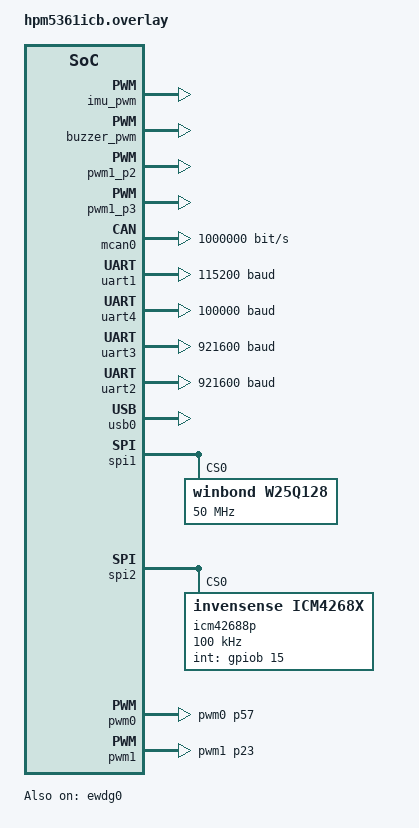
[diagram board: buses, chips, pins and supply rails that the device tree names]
#include <dt-bindings/gpio/gpio.h>
#include <dt-bindings/clock/hpm5361-clocks.h>
#include "dt-bindings/pinctrl/hpmicro-pinctrl-common.h"
#include <zephyr/dt-bindings/pwm/pwm.h>

/ {
    aliases {
        user-can1   = &mcan0;
        inter-can   = &mcan0;      /* 上下板通信总线（总线所有者组件用） */
        remote-uart = &uart4;
        hipnuc-uart = &uart3;
        imu-spi     = &icm42688p;
        imu-pwm     = &imu_pwm;
        buzzer-pwm  = &buzzer_pwm;
        flash-spi   = &w25q128;
        pc-usb      = &qingyuusb_usb0;
    };

    chosen {
        zephyr,console = &uart2;
        zephyr,watchdog = &ewdg0;
    };

    pwm {
        compatible = "pwm-leds";

        imu_pwm: imu_pwm {
            pwms = <&pwm0 7 PWM_USEC(1000) PWM_POLARITY_NORMAL>;
            label = "ICM42688P Heater";
            status = "okay";
        };

        buzzer_pwm: buzzer_pwm {
            pwms = <&pwm0 5 PWM_USEC(1000) PWM_POLARITY_NORMAL>;
            label = "Buzzer";
            status = "okay";
        };

        pwm1_p2: pwm1_p2 {
            pwms = <&pwm1 2 PWM_USEC(1000) PWM_POLARITY_NORMAL>;
            label = "PWM1 CH2";
            status = "okay";
        };

        pwm1_p3: pwm1_p3 {
            pwms = <&pwm1 3 PWM_USEC(1000) PWM_POLARITY_NORMAL>;
            label = "PWM1 CH3";
            status = "okay";
        };
    };
};

&hdma {
    status = "okay";
};

&gpioa {
    pinctrl-0 = <&pinmux_gpioa>;
    pinctrl-names = "default";
    status = "okay";
};

&gpiob {
    pinctrl-0 = <&pinmux_gpiob_spi>;
    pinctrl-names = "default";
    status = "okay";
};

&gpioy {
    pinctrl-0 = <&pinmux_gpioy>;
    pinctrl-names = "default";
    status = "okay";
};

&mcan0 {
    pinctrl-0 = <&pinmux_mcan0_txrx>;
    pinctrl-names = "default";
    /* 位时序要精确：CAN 时钟必须能被 1Mbps 整除。
     * 原来 PLL1_CLK0(792MHz)/5 = 158.4MHz，SDK 只能取 158 tq 近似
     *   → prescaler=1, tq=158, seg1=119, seg2=39 → 实际 1.0025 Mbps（+0.25%）
     * 改成 OSC24M/1 = 24MHz：
     *   → prescaler=1, tq=24, seg1=18, seg2=6 → 精确 1.000 Mbps，采样点 75% */
    // clk-source = <CLK_SRC_OSC24M>;
    // clk-divider = <1>;
    bitrate = <1000000>;
    status = "okay";
};

&uart1 {
    /* HiPNUC IMU：PY06/PY07，115200 8N1 */
    current-speed = <115200>;
    pinctrl-0 = <&pinmux_uart1>;
    pinctrl-names = "default";
    dmas = <&hdma 6 0x16>, <&hdma 7 0x17>;
    dma-names = "rx", "tx";
    status = "okay";
};

&uart4 {
    current-speed = <100000>;
    pinctrl-0 = <&pinmux_uart4_rx>;
    pinctrl-names = "default";
    uart-idle-gptmr-reg = <0xF000C000>;
    uart-idle-gptmr-clock-name = <CLOCK_GPTMR3>;
    dmas = <&hdma 2 0x1C>, <&hdma 3 0x1D>;
    dma-names = "rx", "tx";
    status = "okay";
};

&uart3 {
    current-speed = <921600>;
    pinctrl-0 = <&pinmux_uart3>;
    pinctrl-names = "default";
    dmas = <&hdma 4 0x1A>, <&hdma 5 0x1B>;
    dma-names = "rx", "tx";
    status = "okay";
};

/* ---- UART2（console，板载 "UART2"/H4 连接器）--------------------------
 * 连接器侧：H4.1 = +5V，H4.2 = GND（TVS 到 GND，F11/F12 串在数据线上）
 *           H4.3 = 板侧 RXD，H4.4 = 板侧 TXD
 * MCU 侧 ：PB09 = UART2_RXD，PB08 = UART2_TXD（IOC ALT2）
 *
 * HPM53xx 的 SoC dtsi 里没有 uart2 节点，按 uart0/1/3/4 的写法补一个：
 *   reg 0xF0048000（HPM_UART2_BASE），IRQ 15 = UART2（IRQn_UART2）
 * 时钟用 24M OSC：115200/921600 都能整除，且不依赖 PLL1 的状态。
 */
&{/soc} {
    ewdg0: watchdog@f00b0000 {
        compatible = "hpmicro,hpm-ewdg";
        reg = <0xf00b0000 0x4000>;
        interrupts = <32 1>;
        interrupt-parent = <&plic>;
        clk-name = <CLOCK_WATCHDOG0>;
        status = "okay";
    };

    uart2: serial@f0048000 {
        compatible = "hpmicro,hpm-uart";
        reg = <0xf0048000 0x1000>;
        interrupts = <15 1>, <5 1>;
        interrupt-names = "uart", "idletimer";
        clocks = <&clk CLOCK_UART2 CLK_SRC_PLL1_CLK0 6>;
        interrupt-parent = <&plic>;
        status = "disabled";
    };
};

&pinctrl {
    pinmux_uart2: pinmux_uart2 {
        group0 {
            pinmux = <HPMICRO_PINMUX(HPMICRO_PIN(HPMICRO_PORTB, 8), IOC_TYPE_IOC, 0, 2)>,
                     <HPMICRO_PINMUX(HPMICRO_PIN(HPMICRO_PORTB, 9), IOC_TYPE_IOC, 0, 2)>;
            input-enable;
        };
    };
};

&uart2 {
    /* console：921600 8N1，PB08 = UART2_TXD / PB09 = UART2_RXD */
    current-speed = <921600>;
    pinctrl-0 = <&pinmux_uart2>;
    pinctrl-names = "default";
    /* 通道 0/1；0x18/0x19 = UART2_RX/TX（DMAMUX 源） */
    dmas = <&hdma 0 0x18>, <&hdma 1 0x19>;
    dma-names = "rx", "tx";
    status = "okay";
};

qingyuusb_usb0: &usb0 {
    compatible = "hpmicro,hpm-qingyuusb";
    clk-name = <CLOCK_USB0>;
    status = "okay";
};

&spi1 {
    pinctrl-0 = <&pinmux_spi1>;
    pinctrl-names = "default";
    clocks = <&clk CLOCK_SPI1 CLK_SRC_OSC24M 1>;
    status = "okay";

    w25q128: w25q128@0 {
        compatible = "winbond,w25q128";
        reg = <0>;
        spi-max-frequency = <50000000>;
        status = "okay";
    };
};

&spi2 {
    pinctrl-0 = <&pinmux_spi2_local>;
    pinctrl-names = "default";
    clocks = <&clk CLOCK_SPI2 CLK_SRC_OSC24M 1>;
    status = "okay";

    icm42688p: icm42688p@0 {
        compatible = "invensense,icm4268x";
        reg = <0>;
        spi-max-frequency = <100000>;
        int-gpios = <&gpiob 15 GPIO_ACTIVE_HIGH>;
        status = "okay";
    };
};

&pwm0 {
    pinctrl-0 = <&pinmux_pwm0_p57>;
    pinctrl-names = "default";
    period-init = <1000>;
    dead-zone-in-half-cycle = <0>;
    status = "okay";
};

&mtimer {
    compatible = "riscv,machine-timer", "andestech,machine-timer";
    reg-names = "mtime", "mtimecmp";
};

&pwm1 {
    pinctrl-0 = <&pinmux_pwm1_p23>;
    pinctrl-names = "default";
    period-init = <1000>;
    dead-zone-in-half-cycle = <0>;
    status = "okay";
};
